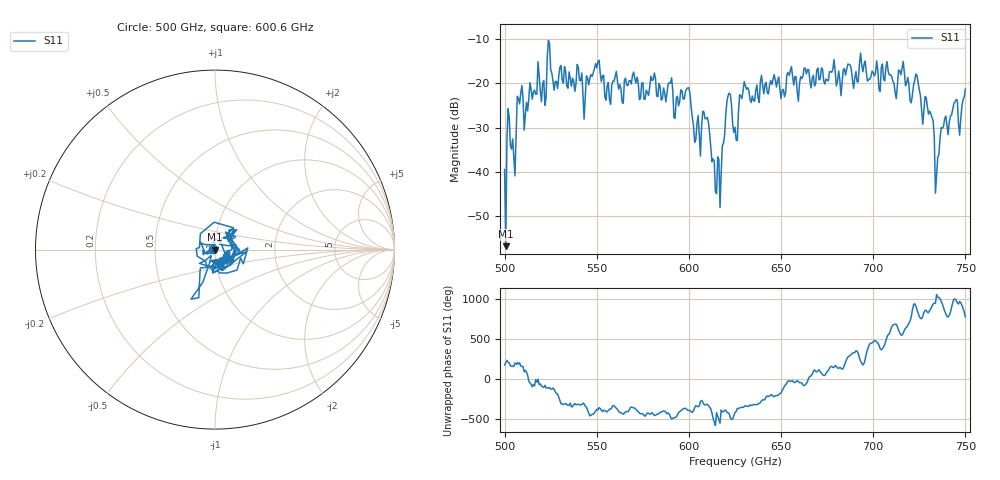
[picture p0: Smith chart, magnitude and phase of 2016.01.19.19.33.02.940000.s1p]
!Created with skrf (http://scikit-rf.org).
# GHz S RI R 50.0
!freq ReS11 ImS11
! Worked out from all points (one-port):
!   401 points, 500 GHz to 750 GHz, reference 50 ohm
!   lowest |S11| = -56.8 dB at 500.6 GHz (marker M1), VSWR 1.00, Z = 49.9 - j0.0585 ohm
!   |S11| at or under -10 dB: start of sweep to end of sweep
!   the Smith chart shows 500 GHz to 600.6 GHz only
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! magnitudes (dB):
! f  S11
! 500 GHz  -39.5
! 500.6 GHz  -56.8
! 502.5 GHz  -27.6
! 505 GHz  -36.6
! 508.1 GHz  -24.7
! 521.2 GHz  -19.4
! 524.4 GHz  -11.0
! 527.5 GHz  -19.5
! 531.2 GHz  -19.3
! 543.8 GHz  -23.0
! 550 GHz  -16.5
! 562.5 GHz  -20.3
! 580.6 GHz  -19.1
! 593.8 GHz  -22.9
! 599.4 GHz  -21.0
! 605 GHz  -27.3
! 608.8 GHz  -28.0
! 615.6 GHz  -36.6
! 621.2 GHz  -22.8
! 625 GHz  -29.9
! 630.6 GHz  -20.4
! 656.2 GHz  -18.4
! 687.5 GHz  -15.8
! 718.8 GHz  -18.6
! 729.4 GHz  -25.3
! 735 GHz  -36.7
! 738.1 GHz  -29.7
! 750 GHz  -21.3
